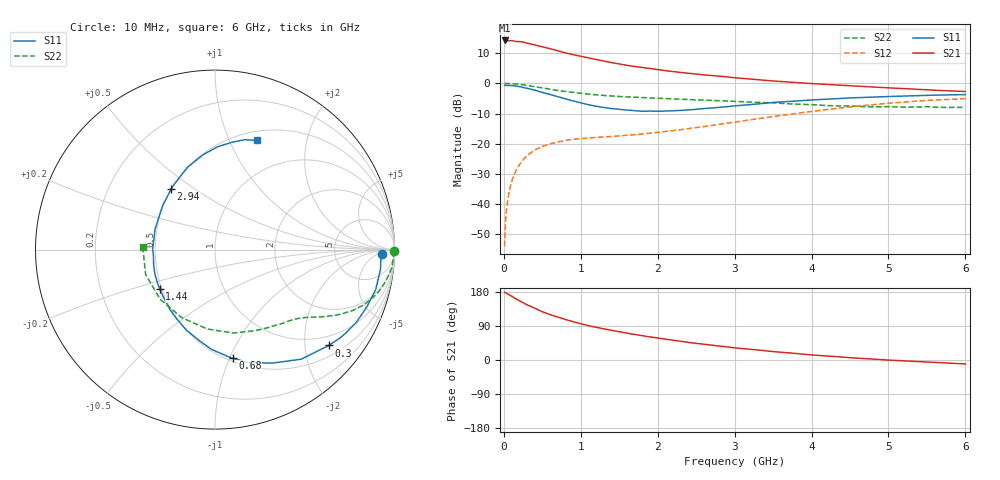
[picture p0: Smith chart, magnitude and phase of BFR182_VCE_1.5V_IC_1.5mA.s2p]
! Infineon Technologies  Discrete & RF Semiconductors
! BFR182
! VCE =  1.5 V,  IC =  1.5 mA
! Common Emitter S-Parameters:  Nov 2015
# GHz  S  MA  R  50
!  f  S11  S21  S12  S22
! GHz  MAG  ANG  MAG  ANG  MAG  ANG  MAG  ANG
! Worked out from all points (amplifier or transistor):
!   210 points, 10 MHz to 6 GHz, reference 50 ohm
!   highest |S21| = 14.2 dB at 10 MHz (marker M1)
!   |S21| within 3 dB of that: start of sweep to 642.8 MHz
!   unconditionally stable (mu >= 1): 1.564 GHz to 3.26 GHz
!   at 185 MHz: K = 0.15, MSG = 20.8 dB, |S12| = -27.7 dB
!   at 1.52 GHz: K = 0.98, MSG = 11.9 dB, |S12| = -17.4 dB
!   at 6 GHz: K = 0.93, MSG = 1.2 dB, |S12| = -5.0 dB
!   S11 on the Smith chart (normalised r, x): 10 MHz: 25, -9; 300 MHz: 0.74, -2.55; 680 MHz: 0.53, -1.03; 1.44 GHz: 0.49, -0.25; 2.94 GHz: 0.50, +0.40; 6 GHz: 0.60, +1.27
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0.01  0.9317 -1.4  5.143 179.1  0.002 90.5  0.9979 -0.6
0.02  0.9253 -2.6  5.028 177.6  0.0046 89.9  0.9941 -1.3
0.03  0.9259 -4.0  5.041 176.5  0.0069 86.8  0.9941 -1.8
0.08  0.9233 -11.1  5.097 170.8  0.0184 82.7  0.9916 -4.7
0.1  0.9225 -14.0  5.124 168.5  0.023 82.1  0.9902 -5.9
0.22  0.8739 -29.8  4.899 154.4  0.0481 72.3  0.9541 -12.5
0.3  0.8294 -40.1  4.649 145.9  0.0631 67.3  0.924 -16.4
0.4  0.7769 -51.8  4.353 136.9  0.0782 61.2  0.8838 -20.4
0.5  0.709 -63.1  4.045 127.4  0.0901 56.2  0.84 -23.8
0.6  0.6559 -73.7  3.772 119.8  0.0994 52.1  0.7976 -26.5
0.68  0.6121 -80.8  3.534 114.5  0.1051 49.8  0.7697 -28.2
0.84  0.5375 -95.1  3.114 104.5  0.1153 45.8  0.7227 -31.0
1.02  0.469 -111.0  2.779 94.7  0.1217 43.5  0.6787 -33.6
1.2  0.418 -126.9  2.49 86.1  0.1268 42.5  0.6449 -35.9
1.44  0.3773 -144.7  2.164 76.9  0.1327 43.0  0.6121 -38.6
2.02  0.3455 171.8  1.679 57.3  0.1553 48.1  0.5643 -45.6
2.4  0.3625 149.2  1.48 46.4  0.1772 51.7  0.5387 -51.7
2.94  0.4159 126.0  1.263 33.6  0.2218 53.8  0.5064 -62.5
3.1  0.4331 120.5  1.209 30.3  0.2378 53.6  0.4954 -66.5
4.1  0.5385 95.6  0.975 12.0  0.3548 47.5  0.4358 -99.3
5.1  0.6108 79.7  0.829 -1.2  0.4782 34.3  0.407 -142.2
6  0.6512 69.1  0.732 -10.4  0.5597 19.2  0.4023 178.1
